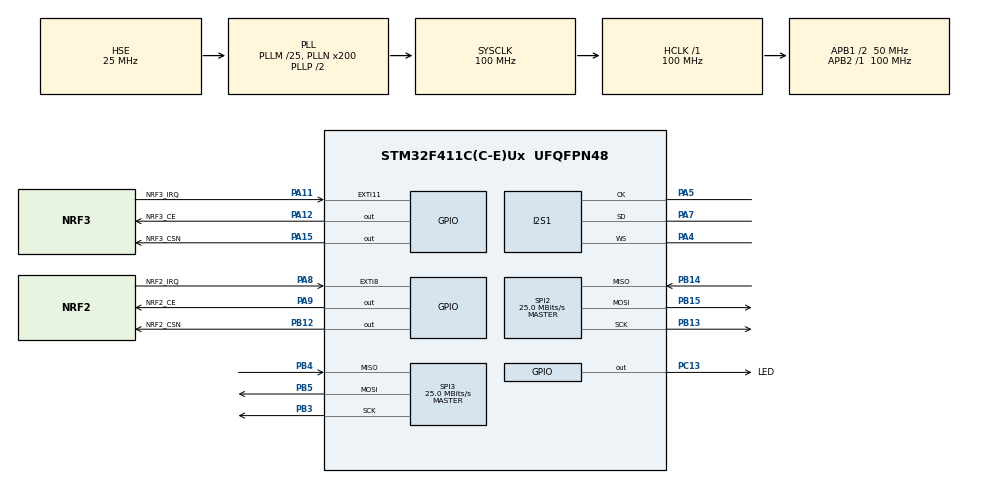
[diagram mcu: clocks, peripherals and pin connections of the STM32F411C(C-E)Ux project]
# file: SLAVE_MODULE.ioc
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Dma.Request0=SPI1_RX
Dma.SPI1_RX.0.Direction=DMA_PERIPH_TO_MEMORY
Dma.SPI1_RX.0.FIFOMode=DMA_FIFOMODE_DISABLE
Dma.SPI1_RX.0.Instance=DMA2_Stream0
Dma.SPI1_RX.0.MemDataAlignment=DMA_MDATAALIGN_HALFWORD
Dma.SPI1_RX.0.MemInc=DMA_MINC_ENABLE
Dma.SPI1_RX.0.Mode=DMA_CIRCULAR
Dma.SPI1_RX.0.PeriphDataAlignment=DMA_PDATAALIGN_HALFWORD
Dma.SPI1_RX.0.PeriphInc=DMA_PINC_DISABLE
Dma.SPI1_RX.0.Priority=DMA_PRIORITY_LOW
I2S1.AudioFreq=I2S_AUDIOFREQ_16K
I2S1.DataFormat=I2S_DATAFORMAT_24B
I2S1.ErrorAudioFreq=-0.26 %
I2S1.FullDuplexMode=I2S_FULLDUPLEXMODE_DISABLE
I2S1.Instance=SPI$Index
I2S1.Mode=I2S_MODE_MASTER_RX
I2S1.RealAudioFreq=15.957 KHz
I2S1.VirtualMode=I2S_MODE_MASTER
Mcu.Family=STM32F4
Mcu.Name=STM32F411C(C-E)Ux
Mcu.Package=UFQFPN48
NVIC.DMA2_Stream0_IRQn=true\:0\:0\:false\:false\:true\:false\:true\:true
NVIC.PriorityGroup=NVIC_PRIORITYGROUP_4
NVIC.TIM2_IRQn=true\:0\:0\:false\:false\:true\:true\:true\:true
PA11.GPIO_Label=NRF3_IRQ
PA11.GPIO_ModeDefaultEXTI=GPIO_MODE_IT_FALLING
PA11.Signal=GPXTI11
PA12.GPIO_Label=NRF3_CE
PA12.GPIO_Speed=GPIO_SPEED_FREQ_HIGH
PA12.Signal=GPIO_Output
PA13.Mode=Serial_Wire
PA13.Signal=SYS_JTMS-SWDIO
PA14.Mode=Serial_Wire
PA14.Signal=SYS_JTCK-SWCLK
PA15.GPIO_Label=NRF3_CSN
PA15.PinState=GPIO_PIN_SET
PA15.Signal=GPIO_Output
PA4.GPIO_Speed=GPIO_SPEED_FREQ_VERY_HIGH
PA4.Mode=Half_Duplex_Master
PA4.Signal=I2S1_WS
PA5.GPIO_Speed=GPIO_SPEED_FREQ_VERY_HIGH
PA5.Mode=Half_Duplex_Master
PA5.Signal=I2S1_CK
PA7.GPIO_Speed=GPIO_SPEED_FREQ_VERY_HIGH
PA7.Mode=Half_Duplex_Master
PA7.Signal=I2S1_SD
PA8.GPIO_Label=NRF2_IRQ
PA8.GPIO_ModeDefaultEXTI=GPIO_MODE_IT_FALLING
PA8.Signal=GPXTI8
PA9.GPIO_Label=NRF2_CE
PA9.GPIO_Speed=GPIO_SPEED_FREQ_HIGH
PA9.PinState=GPIO_PIN_RESET
PA9.Signal=GPIO_Output
PB12.GPIO_Label=NRF2_CSN
PB12.GPIO_Speed=GPIO_SPEED_FREQ_HIGH
PB12.Signal=GPIO_Output
PB13.Mode=Full_Duplex_Master
PB13.Signal=SPI2_SCK
PB14.Mode=Full_Duplex_Master
PB14.Signal=SPI2_MISO
PB15.Mode=Full_Duplex_Master
PB15.Signal=SPI2_MOSI
PB3.Mode=Full_Duplex_Master
PB3.Signal=SPI3_SCK
PB4.Mode=Full_Duplex_Master
PB4.Signal=SPI3_MISO
PB5.Mode=Full_Duplex_Master
PB5.Signal=SPI3_MOSI
PC13-ANTI_TAMP.GPIO_Label=LED
PC13-ANTI_TAMP.PinState=GPIO_PIN_SET
PC13-ANTI_TAMP.Signal=GPIO_Output
PH0\ -\ OSC_IN.Mode=HSE-External-Oscillator
PH0\ -\ OSC_IN.Signal=RCC_OSC_IN
PH1\ -\ OSC_OUT.Mode=HSE-External-Oscillator
PH1\ -\ OSC_OUT.Signal=RCC_OSC_OUT
ProjectManager.HeapSize=0x200
ProjectManager.StackSize=0x400
ProjectManager.TargetToolchain=STM32CubeIDE
RCC.48MHZClocksFreq_Value=50000000
RCC.AHBFreq_Value=100000000
RCC.APB1CLKDivider=RCC_HCLK_DIV2
RCC.APB1Freq_Value=50000000
RCC.APB1TimFreq_Value=100000000
RCC.APB2Freq_Value=100000000
RCC.APB2TimFreq_Value=100000000
RCC.CortexFreq_Value=100000000
RCC.HCLKFreq_Value=100000000
RCC.HSE_VALUE=25000000
RCC.HSI_VALUE=16000000
RCC.LSE_VALUE=32768
RCC.PLLI2SM=25
RCC.PLLM=25
RCC.PLLN=200
RCC.PLLSourceVirtual=RCC_PLLSOURCE_HSE
RCC.SYSCLKFreq_VALUE=100000000
RCC.SYSCLKSource=RCC_SYSCLKSOURCE_PLLCLK
RCC.VCOOutputFreq_Value=200000000
SPI2.BaudRatePrescaler=SPI_BAUDRATEPRESCALER_2
SPI2.CalculateBaudRate=25.0 MBits/s
SPI2.Direction=SPI_DIRECTION_2LINES
SPI2.Mode=SPI_MODE_MASTER
SPI2.VirtualType=VM_MASTER
SPI3.BaudRatePrescaler=SPI_BAUDRATEPRESCALER_2
SPI3.CalculateBaudRate=25.0 MBits/s
SPI3.Direction=SPI_DIRECTION_2LINES
SPI3.Mode=SPI_MODE_MASTER
SPI3.VirtualType=VM_MASTER
TIM2.Prescaler=99
VP_TIM2_VS_ClockSourceINT.Mode=Internal
board=custom

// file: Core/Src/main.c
/* USER CODE BEGIN Header */
/**
  ******************************************************************************
  * @file           : main.c
  * @brief          : Main program body
  ******************************************************************************
  * @attention
  *
  * Copyright (c) 2026 STMicroelectronics.
  * All rights reserved.
  *
  * This software is licensed under terms that can be found in the LICENSE file
  * in the root directory of this software component.
  * If no LICENSE file comes with this software, it is provided AS-IS.
  *
  ******************************************************************************
  */
/* USER CODE END Header */
#include "main.h"

/* USER CODE BEGIN Includes */
#include <math.h>
#include <string.h>
#include <stdint.h>
/* USER CODE END Includes */

/* USER CODE BEGIN PTD */
typedef enum {
    DET_STATE_QUIET = 0,
    DET_STATE_CANDIDATE,
    DET_STATE_LOCKOUT
} detector_state_t;
/* USER CODE END PTD */

/* USER CODE BEGIN PD */
#define AUDIO_FS             16000U
#define BLOCK_SAMPLES        512U
#define DMA_HALVES           2U
/* INMP441 передает полезный моно-сигнал в одном слоте стереокадра I2S.
 * Один 24-битный слот занимает два 16-битных DMA half-word.
 * Один полный стереокадр: левый слот + правый слот = 4 half-word.
 * Поэтому один полезный моно-отсчет соответствует 4 half-word, а не 2.
 */
#define I2S_WORDS_PER_SAMPLE      4U
#define I2S_ACTIVE_SLOT_WORD_OFFSET 0U  /* L/R=0: левый слот; если сигнал нулевой, заменить на 2U */
#define I2S_HALF_WORDS            (BLOCK_SAMPLES * I2S_WORDS_PER_SAMPLE)
#define I2S_DMA_WORDS             (BLOCK_SAMPLES * DMA_HALVES * I2S_WORDS_PER_SAMPLE)
/* Для STM32F4 HAL в 24-bit I2S Size удваивается внутри HAL до количества 16-bit DMA-транзакций. */
#define I2S_HAL_RX_SIZE_PARAM     I2S_HALF_WORDS

#define PRETRIGGER_SAMPLES  256U
#define PRETRIGGER_MASK     (PRETRIGGER_SAMPLES - 1U)
#define STA_SAMPLES         8U
#define LTA_SAMPLES         128U
#define STA_LTA_RATIO_Q8    768U
#define TRIGGER_MULTIPLIER  4U
#define ONSET_MULTIPLIER    2U
#define MIN_ONSET_DWELL     4U
#define MIN_SHAPE_DWELL     8U
#define LOCKOUT_SAMPLES     800U
#define CANDIDATE_TIMEOUT   320U
#define DC_SHIFT            10U
#define ENV_SHIFT           2U
#define NOISE_SHIFT         6U
#define CUSUM_LEAK          96U
#define CUSUM_CONFIRM       24000U

/* USER CODE END PD */

I2S_HandleTypeDef hi2s1;
DMA_HandleTypeDef hdma_spi1_rx;

SPI_HandleTypeDef hspi2;
SPI_HandleTypeDef hspi3;

TIM_HandleTypeDef htim2;

/* USER CODE BEGIN PV */
typedef struct {
    SPI_HandleTypeDef *hspi;
    GPIO_TypeDef *csn_port;
    uint16_t csn_pin;
    GPIO_TypeDef *ce_port;
    uint16_t ce_pin;
} nrf_dev_t;

volatile transient_event_t last_event = {0};
volatile uint64_t last_event_timestamp_us = 0;
volatile uint64_t last_event_sample_index = 0;
volatile uint32_t dma_audio_overruns = 0;
volatile uint8_t recognized_event_id = 0;
volatile uint8_t radio_event_ready = 0;
volatile radio_event_packet_t radio_event_packet = {0};

/* Диагностика радиоканала для STM32CubeMonitor. */
volatile uint8_t SynEnable = 0;
volatile int32_t radio_last_sync_error_us = 0;
volatile int32_t radio_time_correction_us = 0;
volatile uint8_t radio_sync_seen = 0;
volatile uint8_t radio_nrf3_tx_busy = 0;
volatile uint8_t radio_nrf3_last_status = 0;
volatile uint8_t radio_nrf2_last_status = 0;
volatile uint8_t radio_nrf2_last_pipe = 0;
volatile uint8_t radio_nrf2_last_payload = 0;
volatile uint64_t radio_nrf2_last_sync_master_us = 0;
volatile uint32_t radio_nrf2_last_sync_master_us_lo = 0;
volatile uint32_t radio_nrf2_last_sync_master_us_hi = 0;
volatile uint8_t radio_nrf2_last_payload_len = 0;
volatile uint8_t radio_nrf2_en_aa = 0xFFU;
volatile uint32_t radio_nrf3_max_rt_count = 0;
volatile uint32_t radio_nrf3_tx_ok_count = 0;
volatile uint32_t radio_nrf2_sync_count = 0;
volatile uint32_t radio_nrf2_reset_count = 0;
volatile uint32_t radio_nrf2_health_count = 0;
volatile uint32_t radio_nrf2_lost_sync_estimate = 0;

/* Расширенная диагностика nRF24L01+ для CubeMonitor.
 * present = 1, если по SPI читается RF_CH, равный ожидаемой частоте.
 * irq_pin_level: 0 означает активное IRQ, 1 - линия отпущена.
 * *_status_after_clear должен иметь биты RX_DR/TX_DS/MAX_RT сброшенными. */
volatile uint8_t radio_nrf2_present = 0;
volatile uint8_t radio_nrf3_present = 0;
volatile uint8_t radio_nrf2_config = 0;
volatile uint8_t radio_nrf3_config = 0;
volatile uint8_t radio_nrf2_fifo_status = 0;
volatile uint8_t radio_nrf3_fifo_status = 0;
volatile uint8_t radio_nrf2_observe_tx = 0;
volatile uint8_t radio_nrf3_observe_tx = 0;
volatile uint8_t radio_nrf2_rf_ch_read = 0;
volatile uint8_t radio_nrf3_rf_ch_read = 0;
volatile uint8_t radio_nrf2_setup_aw_read = 0;
volatile uint8_t radio_nrf3_setup_aw_read = 0;
volatile uint8_t radio_nrf2_irq_pin_level = 1;
volatile uint8_t radio_nrf3_irq_pin_level = 1;
volatile uint8_t radio_nrf2_status_after_clear = 0;
volatile uint8_t radio_nrf3_status_after_clear = 0;
volatile uint32_t radio_nrf2_init_clear_count = 0;
volatile uint32_t radio_nrf3_init_clear_count = 0;
volatile uint32_t radio_nrf2_spi_error_count = 0;
volatile uint32_t radio_nrf3_spi_error_count = 0;
volatile uint8_t radio_nrf2_status_nop = 0;
volatile uint8_t radio_nrf3_status_nop = 0;
volatile uint8_t radio_nrf2_present_code = 0;
volatile uint8_t radio_nrf3_present_code = 0;
volatile uint8_t radio_nrf2_feature = 0xFFU;
volatile uint8_t radio_nrf3_feature = 0xFFU;
volatile uint8_t radio_nrf2_dynpd = 0xFFU;
volatile uint8_t radio_nrf3_dynpd = 0xFFU;

/* EXTI must be short: only post these flags. SPI service is done in main loop. */
volatile uint8_t radio_nrf2_irq_pending = 0;
volatile uint8_t radio_nrf3_irq_pending = 0;

/* Адреса должны совпадать с настройками мастера.
 * NRF3 передаёт timestamp-пакеты на pipe мастера, выделенную данному slave.
 * NRF2 принимает pipe0 общий sync/reset и pipe1 индивидуальный health-check. */
/* Адреса согласованы с master_radio_impl_v2/master_radio.c.
 * Для Slave_0:
 *   NRF3 timestamp TX -> master NRF3 RX pipe0: 00 CC BB AA E1
 *   NRF2 common RX    <- master reset/sync:      D2 C2 B2 A2 E2
 *   NRF2 health RX    <- master health slave0:   10 C3 B3 A3 E3
 * Для Slave_1..3 нужно изменить только первый байт nrf3_master_pipe0_addr
 * на 0x01..0x03 и первый байт nrf2_slave_pipe1_addr на 0x11..0x13.
 */
static uint8_t nrf3_master_pipe0_addr[RADIO_ADDR_WIDTH] = {0x00U, 0xCCU, 0xBBU, 0xAAU, 0xE1U};
static uint8_t nrf2_common_pipe0_addr[RADIO_ADDR_WIDTH] = {0xD2U, 0xC2U, 0xB2U, 0xA2U, 0xE2U};
static uint8_t nrf2_slave_pipe1_addr[RADIO_ADDR_WIDTH]  = {0x10U, 0xC3U, 0xB3U, 0xA3U, 0xE3U};

static const nrf_dev_t nrf2_rx = {
    .hspi = &hspi2,
    .csn_port = NRF2_CSN_GPIO_Port,
    .csn_pin = NRF2_CSN_Pin,
    .ce_port = NRF2_CE_GPIO_Port,
    .ce_pin = NRF2_CE_Pin
};
static const nrf_dev_t nrf3_tx = {
    .hspi = &hspi3,
    .csn_port = NRF3_CSN_GPIO_Port,
    .csn_pin = NRF3_CSN_Pin,
    .ce_port = NRF3_CE_GPIO_Port,
    .ce_pin = NRF3_CE_Pin
};

/*
 * 24-битный I2S через 16-битный DMA.
 * Каждый сэмпл = 2 полуслова (half-words) по 16 бит.
 * Двойной буфер: 2 половины * BLOCK_SAMPLES сэмплов * 2 полуслова = BLOCK_SAMPLES * 4
 */
static uint16_t i2s_buffer[I2S_DMA_WORDS] __attribute__((aligned(4)));

/* ISR only posts completed DMA halves; main loop consumes them atomically. */
static volatile uint8_t process_pending_mask = 0;
static volatile uint64_t process_block_start_sample[DMA_HALVES] = {0, 0};

volatile uint32_t tim2_ovf = 0;
static uint64_t recording_start_us = 0;
static volatile uint64_t sample_counter = 0;

static int16_t  pretrigger_pcm[PRETRIGGER_SAMPLES];
static uint16_t pretrigger_env[PRETRIGGER_SAMPLES];
static uint32_t pretrigger_wr = 0;

static detector_state_t det_state = DET_STATE_QUIET;
static int32_t  dc_estimate = 0;
static uint32_t env_state = 0;
static uint32_t noise_mean = 512U;
static uint32_t noise_deviation = 64U;
static uint32_t sta_ring[STA_SAMPLES];
static uint32_t lta_ring[LTA_SAMPLES];
static uint32_t sta_sum = 0;
static uint32_t lta_sum = 1U;
static uint32_t sta_pos = 0;
static uint32_t lta_pos = 0;
static uint32_t cusum_pos = 0;
static uint32_t lockout_left = 0;
static uint32_t candidate_age = 0;
static uint32_t candidate_peak = 0;
static uint32_t candidate_peak_sta_lta_q8 = 0;
static uint16_t candidate_dwell = 0;
static uint64_t candidate_start_sample = 0;

int32_t test24 = 0;

/* Debug-переменные детектора для STM32CubeMonitor.
 * Используются только для построения графиков: выпрямленный сигнал,
 * огибающая, адаптивные пороги и состояние автомата детектора.
 */
volatile uint16_t dbg_rect16 = 0;
volatile uint32_t dbg_env = 0;
volatile uint32_t dbg_thr_trigger = 0;
volatile uint32_t dbg_thr_onset = 0;
volatile uint8_t  dbg_det_state = 0;
/* USER CODE END PV */

void SystemClock_Config(void);
static void MX_GPIO_Init(void);
static void MX_DMA_Init(void);
static void MX_I2S1_Init(void);
static void MX_SPI2_Init(void);
static void MX_SPI3_Init(void);
static void MX_TIM2_Init(void);
/* USER CODE BEGIN PFP */
uint64_t get_time_us(void);
void process_audio_block(uint16_t *buf, uint16_t len, uint64_t block_start_sample);
static void Radio_Init(void);
static void Radio_ResetInternalTimeAndEvents(void);
static uint64_t Radio_ApplySyncCorrection(uint64_t timestamp_us);
static void Radio_HandleNrf2Rx(void);
static void Radio_HandleNrf3TxIrq(void);
static void nrf_read_payload_buf(const nrf_dev_t *dev, uint8_t *payload, uint8_t len);
static uint64_t get_u64_le(const uint8_t *p);
static void nrf_clear_all_irqs_and_fifos(const nrf_dev_t *dev, uint8_t is_nrf3);
static void Radio_UpdateNrfDebugSnapshot(void);
/* USER CODE END PFP */

/* USER CODE BEGIN 0 */
static uint8_t nrf_spi_xfer(const nrf_dev_t *dev, uint8_t data)
{
    uint8_t rx = 0xFFU;
    HAL_StatusTypeDef st = HAL_SPI_TransmitReceive(dev->hspi, &data, &rx, 1U, 2U);
    if (st != HAL_OK) {
        if (dev == &nrf2_rx) {
            radio_nrf2_spi_error_count++;
        } else if (dev == &nrf3_tx) {
            radio_nrf3_spi_error_count++;
        }
    }
    return rx;
}

static void nrf_csn_low(const nrf_dev_t *dev)
{
    HAL_GPIO_WritePin(dev->csn_port, dev->csn_pin, GPIO_PIN_RESET);
}

static void nrf_csn_high(const nrf_dev_t *dev)
{
    HAL_GPIO_WritePin(dev->csn_port, dev->csn_pin, GPIO_PIN_SET);
}

static void nrf_ce_low(const nrf_dev_t *dev)
{
    HAL_GPIO_WritePin(dev->ce_port, dev->ce_pin, GPIO_PIN_RESET);
}

static void nrf_ce_high(const nrf_dev_t *dev)
{
    HAL_GPIO_WritePin(dev->ce_port, dev->ce_pin, GPIO_PIN_SET);
}

static uint8_t nrf_read_reg(const nrf_dev_t *dev, uint8_t reg)
{
    uint8_t val;
    nrf_csn_low(dev);
    nrf_spi_xfer(dev, NRF_CMD_R_REGISTER | (reg & 0x1FU));
    val = nrf_spi_xfer(dev, 0x00U);
    nrf_csn_high(dev);
    return val;
}

static void nrf_write_reg(const nrf_dev_t *dev, uint8_t reg, uint8_t val)
{
    nrf_csn_low(dev);
    nrf_spi_xfer(dev, NRF_CMD_W_REGISTER | (reg & 0x1FU));
    nrf_spi_xfer(dev, val);
    nrf_csn_high(dev);
}

static void nrf_read_multi(const nrf_dev_t *dev, uint8_t reg, uint8_t *data, uint8_t len)
{
    nrf_csn_low(dev);
    nrf_spi_xfer(dev, NRF_CMD_R_REGISTER | (reg & 0x1FU));
    for (uint8_t i = 0; i < len; i++) {
        data[i] = nrf_spi_xfer(dev, 0x00U);
    }
    nrf_csn_high(dev);
}

static void nrf_write_multi(const nrf_dev_t *dev, uint8_t reg, const uint8_t *data, uint8_t len)
{
    nrf_csn_low(dev);
    nrf_spi_xfer(dev, NRF_CMD_W_REGISTER | (reg & 0x1FU));
    for (uint8_t i = 0; i < len; i++) {
        nrf_spi_xfer(dev, data[i]);
    }
    nrf_csn_high(dev);
}

static void nrf_command(const nrf_dev_t *dev, uint8_t cmd)
{
    nrf_csn_low(dev);
    nrf_spi_xfer(dev, cmd);
    nrf_csn_high(dev);
}

static void nrf_activate_features(const nrf_dev_t *dev)
{
    /* nRF24L01+ FEATURE/DYNPD registers are locked after reset on many
     * modules. ACTIVATE 0x73 unlocks them. Without it, EN_DYN_ACK can stay
     * zero and NO_ACK sync/reset packets from the master may be ignored. */
    nrf_csn_low(dev);
    nrf_spi_xfer(dev, 0x50U);
    nrf_spi_xfer(dev, 0x73U);
    nrf_csn_high(dev);
}

static void nrf_write_feature_checked(const nrf_dev_t *dev, uint8_t value)
{
    /* ACTIVATE 0x73 toggles FEATURE access. If the MCU resets but the radio
     * module remains powered, unconditional ACTIVATE may switch FEATURE access
     * off. Write-read first; ACTIVATE only if FEATURE did not accept value. */
    nrf_write_reg(dev, NRF_REG_FEATURE, value);
    if (nrf_read_reg(dev, NRF_REG_FEATURE) != value) {
        nrf_activate_features(dev);
        nrf_write_reg(dev, NRF_REG_FEATURE, value);
    }
}

static uint8_t nrf_get_status_nop(const nrf_dev_t *dev)
{
    uint8_t st;
    nrf_csn_low(dev);
    st = nrf_spi_xfer(dev, NRF_CMD_NOP);
    nrf_csn_high(dev);
    return st;
}

static void nrf_clear_irq(const nrf_dev_t *dev, uint8_t flags)
{
    nrf_write_reg(dev, NRF_REG_STATUS, flags & (NRF_STATUS_RX_DR | NRF_STATUS_TX_DS | NRF_STATUS_MAX_RT));
}

static void nrf_clear_all_irqs_and_fifos(const nrf_dev_t *dev, uint8_t is_nrf3)
{
    /* nRF24L01+ IRQ is active-low while RX_DR, TX_DS or MAX_RT is set and
     * unmasked by CONFIG. On power-up or after a failed TX these flags may
     * remain latched. Clear them before enabling CE and before enabling
     * unmasked IRQ sources, otherwise the IRQ line can stay low forever. */
    nrf_ce_low(dev);
    nrf_write_reg(dev, NRF_REG_STATUS, NRF_STATUS_RX_DR | NRF_STATUS_TX_DS | NRF_STATUS_MAX_RT);
    nrf_command(dev, NRF_CMD_FLUSH_RX);
    nrf_command(dev, NRF_CMD_FLUSH_TX);
    nrf_write_reg(dev, NRF_REG_STATUS, NRF_STATUS_RX_DR | NRF_STATUS_TX_DS | NRF_STATUS_MAX_RT);

    if (is_nrf3 != 0U) {
        radio_nrf3_init_clear_count++;
        radio_nrf3_status_after_clear = nrf_read_reg(dev, NRF_REG_STATUS);
        radio_nrf3_fifo_status = nrf_read_reg(dev, NRF_REG_FIFO_STATUS);
    } else {
        radio_nrf2_init_clear_count++;
        radio_nrf2_status_after_clear = nrf_read_reg(dev, NRF_REG_STATUS);
        radio_nrf2_fifo_status = nrf_read_reg(dev, NRF_REG_FIFO_STATUS);
    }
}

static void Radio_UpdateNrfDebugSnapshot(void)
{
    radio_nrf2_status_nop = nrf_get_status_nop(&nrf2_rx);
    radio_nrf3_status_nop = nrf_get_status_nop(&nrf3_tx);
    radio_nrf2_last_status = nrf_read_reg(&nrf2_rx, NRF_REG_STATUS);
    radio_nrf3_last_status = nrf_read_reg(&nrf3_tx, NRF_REG_STATUS);
    radio_nrf2_config = nrf_read_reg(&nrf2_rx, NRF_REG_CONFIG);
    radio_nrf3_config = nrf_read_reg(&nrf3_tx, NRF_REG_CONFIG);
    radio_nrf2_fifo_status = nrf_read_reg(&nrf2_rx, NRF_REG_FIFO_STATUS);
    radio_nrf3_fifo_status = nrf_read_reg(&nrf3_tx, NRF_REG_FIFO_STATUS);
    radio_nrf2_observe_tx = nrf_read_reg(&nrf2_rx, NRF_REG_OBSERVE_TX);
    radio_nrf3_observe_tx = nrf_read_reg(&nrf3_tx, NRF_REG_OBSERVE_TX);
    radio_nrf2_rf_ch_read = nrf_read_reg(&nrf2_rx, NRF_REG_RF_CH);
    radio_nrf3_rf_ch_read = nrf_read_reg(&nrf3_tx, NRF_REG_RF_CH);
    radio_nrf2_setup_aw_read = nrf_read_reg(&nrf2_rx, NRF_REG_SETUP_AW);
    radio_nrf3_setup_aw_read = nrf_read_reg(&nrf3_tx, NRF_REG_SETUP_AW);
    radio_nrf2_feature = nrf_read_reg(&nrf2_rx, NRF_REG_FEATURE);
    radio_nrf3_feature = nrf_read_reg(&nrf3_tx, NRF_REG_FEATURE);
    radio_nrf2_en_aa = nrf_read_reg(&nrf2_rx, NRF_REG_EN_AA);
    radio_nrf2_dynpd = nrf_read_reg(&nrf2_rx, NRF_REG_DYNPD);
    radio_nrf3_dynpd = nrf_read_reg(&nrf3_tx, NRF_REG_DYNPD);
    radio_nrf2_irq_pin_level = (uint8_t)HAL_GPIO_ReadPin(NRF2_IRQ_GPIO_Port, NRF2_IRQ_Pin);
    radio_nrf3_irq_pin_level = (uint8_t)HAL_GPIO_ReadPin(NRF3_IRQ_GPIO_Port, NRF3_IRQ_Pin);
    radio_nrf2_present_code = 0U;
    if (radio_nrf2_rf_ch_read == NRF2_FREQ) { radio_nrf2_present_code |= 0x01U; }
    if (radio_nrf2_setup_aw_read == 0x03U) { radio_nrf2_present_code |= 0x02U; }
    if ((radio_nrf2_status_nop != 0xFFU) && (radio_nrf2_status_nop != 0x00U)) { radio_nrf2_present_code |= 0x04U; }
    radio_nrf2_present = ((radio_nrf2_present_code & 0x03U) == 0x03U) ? 1U : 0U;

    radio_nrf3_present_code = 0U;
    if (radio_nrf3_rf_ch_read == NRF3_FREQ) { radio_nrf3_present_code |= 0x01U; }
    if (radio_nrf3_setup_aw_read == 0x03U) { radio_nrf3_present_code |= 0x02U; }
    if ((radio_nrf3_status_nop != 0xFFU) && (radio_nrf3_status_nop != 0x00U)) { radio_nrf3_present_code |= 0x04U; }
    radio_nrf3_present = ((radio_nrf3_present_code & 0x03U) == 0x03U) ? 1U : 0U;
}

static void delay_us_blocking(uint32_t us)
{
    uint64_t start = get_time_us();
    while ((uint64_t)(get_time_us() - start) < us) {
        __NOP();
    }
}

uint64_t get_time_us(void)
{
    uint32_t primask = __get_PRIMASK();
    __disable_irq();
    uint64_t t = ((uint64_t)tim2_ovf << 32) | TIM2->CNT;
    if (primask == 0U) {
        __enable_irq();
    }
    return t;
}

static void set_time_us(uint64_t us)
{
    uint32_t primask = __get_PRIMASK();
    __disable_irq();
    tim2_ovf = (uint32_t)(us >> 32);
    TIM2->CNT = (uint32_t)us;
    if (primask == 0U) {
        __enable_irq();
    }
}

static uint8_t pop_dma_half(uint16_t **block_ptr, uint64_t *block_start_sample)
{
    uint8_t half_index = 0xFFU;

    uint32_t primask = __get_PRIMASK();
    __disable_irq();
    if (process_pending_mask & 0x01U) {
        process_pending_mask &= (uint8_t)~0x01U;
        half_index = 0U;
        *block_start_sample = process_block_start_sample[0];
    } else if (process_pending_mask & 0x02U) {
        process_pending_mask &= (uint8_t)~0x02U;
        half_index = 1U;
        *block_start_sample = process_block_start_sample[1];
    }
    if (primask == 0U) {
        __enable_irq();
    }

    if (half_index != 0xFFU) {
        *block_ptr = &i2s_buffer[(uint32_t)half_index * I2S_HALF_WORDS];
    }
    return half_index;
}

static uint8_t audio_has_pending_block(void)
{
    return process_pending_mask != 0U;
}

static void mark_dma_half_ready(uint8_t half_index)
{
    uint8_t bit = (uint8_t)(1U << half_index);
    uint64_t start_sample = sample_counter;

    process_block_start_sample[half_index] = start_sample;
    sample_counter = start_sample + BLOCK_SAMPLES;

    if (process_pending_mask & bit) {
        dma_audio_overruns++;
    }
    process_pending_mask |= bit;
}

void HAL_TIM_PeriodElapsedCallback(TIM_HandleTypeDef *htim)
{
    if (htim->Instance == TIM2) {
        tim2_ovf++;
    }
}

void HAL_I2S_RxHalfCpltCallback(I2S_HandleTypeDef *hi2s)
{
    if (hi2s->Instance == SPI1) {
        mark_dma_half_ready(0U);
    }
}

void HAL_I2S_RxCpltCallback(I2S_HandleTypeDef *hi2s)
{
    if (hi2s->Instance == SPI1) {
        mark_dma_half_ready(1U);
    }
}

static inline uint32_t u32_abs_i32(int32_t v)
{
    return (v < 0) ? (uint32_t)(-v) : (uint32_t)v;
}

static inline int32_t decode_inmp441_sample24(const uint16_t *buf, uint16_t i)
{
    uint32_t base = (uint32_t)i * I2S_WORDS_PER_SAMPLE + I2S_ACTIVE_SLOT_WORD_OFFSET;
    uint32_t raw24 = ((uint32_t)buf[base] << 8) |
                     ((buf[base + 1U] >> 8) & 0xFFU);

    if (raw24 & 0x800000U) {
        return (int32_t)(raw24 | 0xFF000000U);
    }
    return (int32_t)raw24;
}

static uint32_t detector_threshold(uint32_t multiplier)
{
    uint32_t thr = noise_mean + noise_deviation * multiplier;
    return (thr < 32U) ? 32U : thr;
}

static uint32_t sta_lta_ratio_q8(void)
{
    uint32_t lta = (lta_sum == 0U) ? 1U : lta_sum;
    return (uint32_t)(((uint64_t)sta_sum * LTA_SAMPLES * 256ULL) /
                      ((uint64_t)lta * STA_SAMPLES));
}

static uint8_t sta_lta_confirmed(void)
{
    uint32_t lta = (lta_sum == 0U) ? 1U : lta_sum;
    return (((uint64_t)sta_sum * LTA_SAMPLES * 256ULL) >
            ((uint64_t)lta * STA_SAMPLES * STA_LTA_RATIO_Q8));
}

static void update_sta_lta(uint32_t env)
{
    sta_sum -= sta_ring[sta_pos];
    sta_ring[sta_pos] = env;
    sta_sum += env;
    if (++sta_pos >= STA_SAMPLES) {
        sta_pos = 0U;
    }

    lta_sum -= lta_ring[lta_pos];
    lta_ring[lta_pos] = env;
    lta_sum += env;
    if (++lta_pos >= LTA_SAMPLES) {
        lta_pos = 0U;
    }
}

static void update_noise_if_quiet(uint32_t env)
{
    if (det_state != DET_STATE_QUIET || env > detector_threshold(TRIGGER_MULTIPLIER)) {
        return;
    }

    int32_t mean_delta = (int32_t)env - (int32_t)noise_mean;
    int32_t new_mean = (int32_t)noise_mean + (mean_delta >> NOISE_SHIFT);
    noise_mean = (new_mean < 0) ? 0U : (uint32_t)new_mean;

    uint32_t abs_delta = u32_abs_i32((int32_t)env - (int32_t)noise_mean);
    int32_t dev_delta = (int32_t)abs_delta - (int32_t)noise_deviation;
    int32_t new_dev = (int32_t)noise_deviation + (dev_delta >> NOISE_SHIFT);
    noise_deviation = (new_dev < 8) ? 8U : (uint32_t)new_dev;
}

static void update_cusum(uint32_t env)
{
    uint32_t baseline = detector_threshold(1U);

    if (env > baseline) {
        uint32_t inc = env - baseline;
        if (inc > 4096U) {
            inc = 4096U;
        }
        cusum_pos += inc;
        if (cusum_pos > (CUSUM_CONFIRM * 4U)) {
            cusum_pos = CUSUM_CONFIRM * 4U;
        }
    } else if (cusum_pos > CUSUM_LEAK) {
        cusum_pos -= CUSUM_LEAK;
    } else {
        cusum_pos = 0U;
    }
}

static uint64_t refine_first_arrival(uint64_t current_sample)
{
    uint32_t onset_thr = detector_threshold(ONSET_MULTIPLIER);

    for (uint32_t back = PRETRIGGER_SAMPLES - MIN_ONSET_DWELL - 1U;
         back > MIN_ONSET_DWELL;
         back--) {
        uint32_t idx = (pretrigger_wr - back) & PRETRIGGER_MASK;
        uint32_t ok = 1U;

        for (uint32_t k = 0; k < MIN_ONSET_DWELL; k++) {
            if (pretrigger_env[(idx + k) & PRETRIGGER_MASK] < onset_thr) {
                ok = 0U;
                break;
            }
        }

        if (ok) {
            uint32_t prev = (idx - 1U) & PRETRIGGER_MASK;
            if (pretrigger_env[idx] >= pretrigger_env[prev]) {
                return current_sample - back;
            }
        }
    }
    return current_sample;
}

static void publish_event(uint64_t sample_index,
                          uint32_t peak_env,
                          uint32_t peak_sta_lta_q8,
                          uint16_t dwell)
{
    transient_event_t ev;

    ev.sample_index = sample_index;
    ev.timestamp_us = recording_start_us + ((sample_index * 1000000ULL) / AUDIO_FS);
    ev.peak_envelope = peak_env;
    ev.peak_sta_lta_q8 = peak_sta_lta_q8;
    ev.noise_mean = noise_mean;
    ev.noise_deviation = noise_deviation;
    ev.dwell_samples = dwell;
    ev.quality_flags = 0U;
    ev.valid = 1U;

    if (dwell >= MIN_SHAPE_DWELL) {
        ev.quality_flags |= 0x01U;
    }
    if (peak_sta_lta_q8 >= STA_LTA_RATIO_Q8) {
        ev.quality_flags |= 0x02U;
    }
    if (peak_env > detector_threshold(TRIGGER_MULTIPLIER)) {
        ev.quality_flags |= 0x04U;
    }

    uint32_t primask = __get_PRIMASK();
    __disable_irq();
    last_event = ev;
    last_event_sample_index = ev.sample_index;
    last_event_timestamp_us = ev.timestamp_us;
    if (primask == 0U) {
        __enable_irq();
    }

    /* User-requested radio mode: transmit ev.timestamp_us in the 64-bit packet field. */
    Radio_PublishEventTimestamp(ev.timestamp_us);
    HAL_GPIO_TogglePin(LED_GPIO_Port, LED_Pin);
}

static void detector_process_pcm16(int16_t pcm, uint64_t sample_index)
{
    uint32_t rect = u32_abs_i32((int32_t)pcm);
    int32_t env_delta = (int32_t)rect - (int32_t)env_state;
    int32_t new_env = (int32_t)env_state + (env_delta >> ENV_SHIFT);
    uint32_t env = (new_env < 0) ? 0U : (uint32_t)new_env;
    uint32_t threshold;

    env_state = env;
    pretrigger_pcm[pretrigger_wr] = pcm;
    pretrigger_env[pretrigger_wr] = (env > 65535U) ? 65535U : (uint16_t)env;
    pretrigger_wr = (pretrigger_wr + 1U) & PRETRIGGER_MASK;

    update_sta_lta(env);
    update_noise_if_quiet(env);
    update_cusum(env);
    threshold = detector_threshold(TRIGGER_MULTIPLIER);

    /* Обновление диагностических переменных для STM32CubeMonitor.
     * dbg_rect16      - abs(pcm16), выпрямленный 16-битный сигнал;
     * dbg_env         - сглаженная огибающая;
     * dbg_thr_trigger - основной адаптивный порог детектирования;
     * dbg_thr_onset   - нижний порог уточнения начала события.
     */
    dbg_rect16 = (rect > 65535U) ? 65535U : (uint16_t)rect;
    dbg_env = env;
    dbg_thr_trigger = threshold;
    dbg_thr_onset = detector_threshold(ONSET_MULTIPLIER);

    switch (det_state) {
    case DET_STATE_QUIET:
        if (env > threshold) {
            det_state = DET_STATE_CANDIDATE;
            candidate_age = 0U;
            candidate_peak = env;
            candidate_peak_sta_lta_q8 = sta_lta_ratio_q8();
            candidate_dwell = 1U;
            candidate_start_sample = sample_index;
        }
        break;

    case DET_STATE_CANDIDATE:
        candidate_age++;
        if (env > candidate_peak) {
            candidate_peak = env;
        }
        {
            uint32_t ratio = sta_lta_ratio_q8();
            if (ratio > candidate_peak_sta_lta_q8) {
                candidate_peak_sta_lta_q8 = ratio;
            }
        }
        if (env > threshold && candidate_dwell < 65535U) {
            candidate_dwell++;
        }

        if (sta_lta_confirmed() && cusum_pos >= CUSUM_CONFIRM) {
            uint64_t ts_sample = refine_first_arrival(sample_index);
            if (ts_sample > candidate_start_sample) {
                ts_sample = candidate_start_sample;
            }
            publish_event(ts_sample, candidate_peak, candidate_peak_sta_lta_q8, candidate_dwell);
            det_state = DET_STATE_LOCKOUT;
            lockout_left = LOCKOUT_SAMPLES;
            cusum_pos = 0U;
        } else if (candidate_age > CANDIDATE_TIMEOUT && env < threshold) {
            det_state = DET_STATE_QUIET;
            cusum_pos = 0U;
        }
        break;

    case DET_STATE_LOCKOUT:
        if (lockout_left > 0U) {
            lockout_left--;
        } else {
            det_state = DET_STATE_QUIET;
            candidate_age = 0U;
            candidate_peak = 0U;
            candidate_peak_sta_lta_q8 = 0U;
            candidate_dwell = 0U;
        }
        break;

    default:
        det_state = DET_STATE_QUIET;
        break;
    }

    /* Состояние после выполнения переходов автомата за текущий отсчёт.
     * Расшифровка для графиков: 0 - Фон, 1 - Кандидат, 2 - Блокировка.
     */
    dbg_det_state = (uint8_t)det_state;
}

void process_audio_block(uint16_t *buf, uint16_t len, uint64_t block_start_sample)
{
    for (uint16_t i = 0; i < len; i++) {
        int32_t sample24 = decode_inmp441_sample24(buf, i);
        test24 = sample24;

        dc_estimate += (sample24 - dc_estimate) >> DC_SHIFT;
        int32_t filtered24 = sample24 - dc_estimate;
        int32_t pcm32 = filtered24 >> 8;

        if (pcm32 > 32767) {
            pcm32 = 32767;
        } else if (pcm32 < -32768) {
            pcm32 = -32768;
        }

        detector_process_pcm16((int16_t)pcm32, block_start_sample + i);
    }
}
static void nrf3_init_ptx_timestamp(void)
{
    nrf_ce_low(&nrf3_tx);
    HAL_Delay(5U);

    nrf_write_reg(&nrf3_tx, NRF_REG_CONFIG, 0x0CU);       /* PWR_DOWN, 2-byte CRC, PTX */
    nrf_clear_all_irqs_and_fifos(&nrf3_tx, 1U);
    nrf_write_reg(&nrf3_tx, NRF_REG_EN_AA, 0x01U);        /* Auto ACK on pipe 0 */
    nrf_write_reg(&nrf3_tx, NRF_REG_EN_RXADDR, 0x01U);    /* Pipe 0 enabled for ACK reception */
    nrf_write_reg(&nrf3_tx, NRF_REG_SETUP_AW, 0x03U);     /* 5-byte addresses */
    nrf_write_reg(&nrf3_tx, NRF_REG_SETUP_RETR, 0x3FU);   /* 750 us, 15 retries */
    nrf_write_reg(&nrf3_tx, NRF_REG_RF_CH, NRF3_FREQ);
    nrf_write_reg(&nrf3_tx, NRF_REG_RF_SETUP, 0x0EU);     /* 2 Mbps, 0 dBm */
    nrf_write_multi(&nrf3_tx, NRF_REG_TX_ADDR, nrf3_master_pipe0_addr, RADIO_ADDR_WIDTH);
    nrf_write_multi(&nrf3_tx, NRF_REG_RX_ADDR_P0, nrf3_master_pipe0_addr, RADIO_ADDR_WIDTH);
    nrf_write_reg(&nrf3_tx, NRF_REG_DYNPD, 0x00U);
    nrf_write_reg(&nrf3_tx, NRF_REG_FEATURE, 0x00U);
    nrf_clear_all_irqs_and_fifos(&nrf3_tx, 1U);

    /* IRQ: RX_DR masked, TX_DS and MAX_RT unmasked. */
    nrf_write_reg(&nrf3_tx, NRF_REG_CONFIG, 0x4EU);
    HAL_Delay(2U);
    nrf_clear_all_irqs_and_fifos(&nrf3_tx, 1U);
}

static void nrf2_init_prx_control(void)
{
    nrf_ce_low(&nrf2_rx);
    HAL_Delay(5U);

    nrf_write_reg(&nrf2_rx, NRF_REG_CONFIG, 0x0CU);       /* PWR_DOWN, 2-byte CRC */
    nrf_clear_all_irqs_and_fifos(&nrf2_rx, 0U);
    nrf_write_reg(&nrf2_rx, NRF_REG_EN_AA, 0x03U);        /* Enhanced ShockBurst on pipe0+pipe1; NO_ACK bit suppresses ACK for sync/reset */
    nrf_write_reg(&nrf2_rx, NRF_REG_EN_RXADDR, 0x03U);    /* Pipe 0 common + pipe 1 individual */
    nrf_write_reg(&nrf2_rx, NRF_REG_SETUP_AW, 0x03U);     /* 5-byte addresses */
    nrf_write_reg(&nrf2_rx, NRF_REG_SETUP_RETR, 0x00U);
    nrf_write_reg(&nrf2_rx, NRF_REG_RF_CH, NRF2_FREQ);
    nrf_write_reg(&nrf2_rx, NRF_REG_RF_SETUP, 0x0EU);     /* 2 Mbps, 0 dBm */
    nrf_write_multi(&nrf2_rx, NRF_REG_RX_ADDR_P0, nrf2_common_pipe0_addr, RADIO_ADDR_WIDTH);
    nrf_write_multi(&nrf2_rx, NRF_REG_RX_ADDR_P1, nrf2_slave_pipe1_addr, RADIO_ADDR_WIDTH);
    nrf_write_reg(&nrf2_rx, NRF_REG_RX_PW_P0, RADIO_CTRL_PAYLOAD_LEN);
    nrf_write_reg(&nrf2_rx, NRF_REG_RX_PW_P1, RADIO_CTRL_PAYLOAD_LEN);
    nrf_write_reg(&nrf2_rx, NRF_REG_DYNPD, 0x00U);
    nrf_write_feature_checked(&nrf2_rx, 0x01U);           /* Accept NO_ACK packets from master */
    nrf_clear_all_irqs_and_fifos(&nrf2_rx, 0U);

    /* IRQ: RX_DR unmasked, TX_DS/MAX_RT masked, PRX enabled. */
    nrf_write_reg(&nrf2_rx, NRF_REG_CONFIG, 0x3FU);
    HAL_Delay(2U);
    nrf_clear_all_irqs_and_fifos(&nrf2_rx, 0U);
    nrf_ce_high(&nrf2_rx);
    HAL_Delay(2U);
}

static void Radio_Init(void)
{
    nrf_csn_high(&nrf2_rx);
    nrf_csn_high(&nrf3_tx);
    nrf_ce_low(&nrf2_rx);
    nrf_ce_low(&nrf3_tx);
    radio_nrf2_irq_pending = 0U;
    radio_nrf3_irq_pending = 0U;
    radio_nrf3_tx_busy = 0U;
    nrf3_init_ptx_timestamp();
    nrf2_init_prx_control();
    Radio_UpdateNrfDebugSnapshot();
}

static void nrf_read_payload_buf(const nrf_dev_t *dev, uint8_t *payload, uint8_t len)
{
    nrf_csn_low(dev);
    nrf_spi_xfer(dev, NRF_CMD_R_RX_PAYLOAD);
    for (uint8_t i = 0U; i < len; i++) {
        payload[i] = nrf_spi_xfer(dev, 0x00U);
    }
    nrf_csn_high(dev);
}

static uint64_t get_u64_le(const uint8_t *p)
{
    return ((uint64_t)p[0]) |
           ((uint64_t)p[1] << 8) |
           ((uint64_t)p[2] << 16) |
           ((uint64_t)p[3] << 24) |
           ((uint64_t)p[4] << 32) |
           ((uint64_t)p[5] << 40) |
           ((uint64_t)p[6] << 48) |
           ((uint64_t)p[7] << 56);
}

static void nrf3_send_event_packet(const radio_event_packet_t *pkt)
{
    nrf_ce_low(&nrf3_tx);
    nrf_write_reg(&nrf3_tx, NRF_REG_STATUS, NRF_STATUS_TX_DS | NRF_STATUS_MAX_RT);
    nrf_command(&nrf3_tx, NRF_CMD_FLUSH_TX);

    nrf_csn_low(&nrf3_tx);
    nrf_spi_xfer(&nrf3_tx, NRF_CMD_W_TX_PAYLOAD);
    const uint8_t *p = (const uint8_t *)pkt;
    for (uint8_t i = 0; i < RADIO_EVENT_PAYLOAD_LEN; i++) {
        nrf_spi_xfer(&nrf3_tx, p[i]);
    }
    nrf_csn_high(&nrf3_tx);

    radio_nrf3_tx_busy = 1U;
    nrf_ce_high(&nrf3_tx);
    delay_us_blocking(20U);
    nrf_ce_low(&nrf3_tx);
}

static uint64_t Radio_ApplySyncCorrection(uint64_t timestamp_us)
{
    if (SynEnable == 0U) {
        return timestamp_us;
    }

    int64_t corrected = (int64_t)timestamp_us + (int64_t)radio_time_correction_us;
    if (corrected < 0) {
        corrected = 0;
    }
    return (uint64_t)corrected;
}

void Radio_ProcessMainLoop(void)
{
    static uint32_t last_debug_snapshot_ms = 0U;
    uint8_t handle_nrf2 = 0U;
    uint8_t handle_nrf3 = 0U;

    /* EXTI only posts flags; all nRF SPI transactions are executed here,
     * outside the interrupt context, so I2S DMA callbacks are not blocked. */
    uint32_t primask = __get_PRIMASK();
    __disable_irq();
    if (radio_nrf2_irq_pending != 0U) {
        radio_nrf2_irq_pending = 0U;
        handle_nrf2 = 1U;
    }
    if (radio_nrf3_irq_pending != 0U) {
        radio_nrf3_irq_pending = 0U;
        handle_nrf3 = 1U;
    }
    if (primask == 0U) {
        __enable_irq();
    }

    if (handle_nrf2 != 0U) {
        Radio_HandleNrf2Rx();
    }
    if (handle_nrf3 != 0U) {
        Radio_HandleNrf3TxIrq();
    }

    if ((HAL_GetTick() - last_debug_snapshot_ms) >= 100U) {
        last_debug_snapshot_ms = HAL_GetTick();
        Radio_UpdateNrfDebugSnapshot();
    }

    if ((radio_event_ready != 0U) && (radio_nrf3_tx_busy == 0U)) {
        radio_event_packet_t pkt;

        primask = __get_PRIMASK();
        __disable_irq();
        pkt = radio_event_packet;
        radio_event_ready = 0U;
        if (primask == 0U) {
            __enable_irq();
        }

        pkt.timestamp_sample = Radio_ApplySyncCorrection(pkt.timestamp_sample);
        nrf3_send_event_packet(&pkt);
    }
}

void Radio_PublishEventTimestamp(uint64_t timestamp_us)
{
    radio_event_packet_t pkt;

    recognized_event_id++; /* uint8_t automatically wraps 255 -> 0. */
    pkt.timestamp_sample = timestamp_us; /* User-requested mode: transmit ev.timestamp_us in this field. */
    pkt.event_id = recognized_event_id;

    uint32_t primask = __get_PRIMASK();
    __disable_irq();
    radio_event_packet = pkt;
    radio_event_ready = 1U;
    last_event_timestamp_us = timestamp_us;
    if (primask == 0U) {
        __enable_irq();
    }
}

static void Radio_ResetInternalTimeAndEvents(void)
{
    uint32_t primask = __get_PRIMASK();
    __disable_irq();
    recognized_event_id = 0U;
    radio_event_ready = 0U;
    radio_event_packet.timestamp_sample = 0U;
    radio_event_packet.event_id = 0U;
    last_event_timestamp_us = 0U;
    last_event_sample_index = 0U;
    last_event.valid = 0U;
    sample_counter = 0U;
    process_pending_mask = 0U;
    process_block_start_sample[0] = 0U;
    process_block_start_sample[1] = 0U;
    recording_start_us = 0U;
    dc_estimate = 0;
    env_state = 0U;
    noise_mean = 512U;
    noise_deviation = 64U;
    sta_sum = 0U;
    lta_sum = 1U;
    sta_pos = 0U;
    lta_pos = 0U;
    cusum_pos = 0U;
    det_state = DET_STATE_QUIET;
    candidate_age = 0U;
    candidate_peak = 0U;
    candidate_peak_sta_lta_q8 = 0U;
    candidate_dwell = 0U;
    pretrigger_wr = 0U;
    memset((void*)pretrigger_pcm, 0, sizeof(pretrigger_pcm));
    memset((void*)pretrigger_env, 0, sizeof(pretrigger_env));
    memset((void*)sta_ring, 0, sizeof(sta_ring));
    memset((void*)lta_ring, 0, sizeof(lta_ring));
    radio_time_correction_us = 0;
    radio_last_sync_error_us = 0;
    radio_sync_seen = 0U;
    if (primask == 0U) {
        __enable_irq();
    }

    set_time_us(0U);
    recording_start_us = get_time_us();
    nrf_command(&nrf2_rx, NRF_CMD_FLUSH_RX);
    nrf_command(&nrf3_tx, NRF_CMD_FLUSH_TX);
}
static void Radio_HandleSyncPacket(uint64_t master_time_us)
{
    uint64_t actual = get_time_us();
    radio_nrf2_sync_count++;
    radio_sync_seen = 1U;
    radio_nrf2_last_sync_master_us = master_time_us;
    radio_nrf2_last_sync_master_us_lo = (uint32_t)(master_time_us & 0xFFFFFFFFULL);
    radio_nrf2_last_sync_master_us_hi = (uint32_t)(master_time_us >> 32);

    int64_t diff64 = (int64_t)actual - (int64_t)master_time_us;
    if (diff64 > INT32_MAX) {
        diff64 = INT32_MAX;
    } else if (diff64 < INT32_MIN) {
        diff64 = INT32_MIN;
    }
    radio_last_sync_error_us = (int32_t)diff64;

    if (SynEnable != 0U) {
        set_time_us(master_time_us);
        //recording_start_us = get_time_us();
        radio_time_correction_us -= (int32_t)diff64;
    }
}

static void Radio_HandleNrf2Rx(void)
{
    uint8_t status = nrf_read_reg(&nrf2_rx, NRF_REG_STATUS);
    radio_nrf2_last_status = status;

    if ((status & NRF_STATUS_RX_DR) != 0U) {
        uint8_t pipe = (uint8_t)((status & NRF_STATUS_RX_P_NO) >> 1);
        uint8_t rx_payload[RADIO_CTRL_PAYLOAD_LEN] = {0U};
        nrf_read_payload_buf(&nrf2_rx, rx_payload, RADIO_CTRL_PAYLOAD_LEN);

        radio_nrf2_last_pipe = pipe;
        radio_nrf2_last_payload = rx_payload[0];
        radio_nrf2_last_payload_len = RADIO_CTRL_PAYLOAD_LEN;

        if ((pipe == 0U) && (rx_payload[0] == RADIO_PKT_TIME_RESET)) {
            radio_nrf2_reset_count++;
            nrf_clear_irq(&nrf2_rx, NRF_STATUS_RX_DR);
            Radio_ResetInternalTimeAndEvents();
            HAL_GPIO_WritePin(LED_GPIO_Port, LED_Pin,GPIO_PIN_SET);
            return;
        }
        if ((pipe == 0U) && (rx_payload[0] == RADIO_PKT_SYNC)) {
            uint64_t master_time_us = get_u64_le(&rx_payload[1]);
            Radio_HandleSyncPacket(master_time_us);
        } else if ((pipe == 1U) && (rx_payload[0] == RADIO_PKT_HEALTH)) {
            /* ACK is generated by nRF24L01+ hardware because EN_AA pipe1 is enabled. */
            radio_nrf2_health_count++;
        }
    }

    nrf_clear_irq(&nrf2_rx, status & (NRF_STATUS_RX_DR | NRF_STATUS_TX_DS | NRF_STATUS_MAX_RT));
}

static void Radio_HandleNrf3TxIrq(void)
{
    uint8_t status = nrf_read_reg(&nrf3_tx, NRF_REG_STATUS);
    radio_nrf3_last_status = status;

    if ((status & NRF_STATUS_MAX_RT) != 0U) {
        radio_nrf3_max_rt_count++;
        nrf_clear_irq(&nrf3_tx, NRF_STATUS_MAX_RT);
        nrf_command(&nrf3_tx, NRF_CMD_FLUSH_TX);
        radio_nrf3_tx_busy = 0U;
    }

    if ((status & NRF_STATUS_TX_DS) != 0U) {
        radio_nrf3_tx_ok_count++;
        nrf_clear_irq(&nrf3_tx, NRF_STATUS_TX_DS);
        radio_nrf3_tx_busy = 0U;
    }
}

void Radio_IRQ_Handler(uint16_t GPIO_Pin)
{
    /* Never use HAL_SPI_* inside EXTI. NRF IRQ can stay low while STATUS is
     * uncleared; servicing it here may block DMA/I2S callbacks for milliseconds. */
    if (GPIO_Pin == NRF2_IRQ_Pin) {
        radio_nrf2_irq_pending = 1U;
    } else if (GPIO_Pin == NRF3_IRQ_Pin) {
        radio_nrf3_irq_pending = 1U;
    }
}
/* USER CODE END 0 */

int main(void)
{

  /* MCU Configuration--------------------------------------------------------*/

  /* Reset of all peripherals, Initializes the Flash interface and the Systick. */
  HAL_Init();

  /* Configure the system clock */
  SystemClock_Config();

  /* Initialize all configured peripherals */
  MX_GPIO_Init();
  MX_DMA_Init();
  MX_I2S1_Init();
  MX_SPI2_Init();
  MX_SPI3_Init();
  MX_TIM2_Init();
  /* USER CODE BEGIN 2 */

   HAL_TIM_Base_Start_IT(&htim2);
  recording_start_us = get_time_us();

  Radio_Init();

  /*
   * Запуск DMA приёма. Для 24-битного I2S каждый сэмпл = 2 полуслова.
   * Размер = BLOCK_SAMPLES сэмплов * 2 половины * 2 полуслова = BLOCK_SAMPLES * 4
   */
  HAL_I2S_Receive_DMA(&hi2s1, (uint16_t*)i2s_buffer, I2S_HAL_RX_SIZE_PARAM);
  /* USER CODE END 2 */

  /* Infinite loop */
  while (1)
  {

    /* USER CODE BEGIN 3 */
    uint16_t *block_ptr = NULL;
    uint64_t block_start_sample = 0U;

    while (pop_dma_half(&block_ptr, &block_start_sample) != 0xFFU) {
        process_audio_block(block_ptr, BLOCK_SAMPLES, block_start_sample);
        block_ptr = NULL;
    }

    /* Радио обслуживается только когда аудио-очередь пуста. Это защищает
     * непрерывный I2S/DMA тракт от блокировок SPI/nRF и STM32CubeMonitor. */
    if (!audio_has_pending_block()) {
        Radio_ProcessMainLoop();
    }
    /* USER CODE END 3 */
  }
}

void SystemClock_Config(void)
{
  RCC_OscInitTypeDef RCC_OscInitStruct = {0};
  RCC_ClkInitTypeDef RCC_ClkInitStruct = {0};

  /** Configure the main internal regulator output voltage
  */
  __HAL_RCC_PWR_CLK_ENABLE();
  __HAL_PWR_VOLTAGESCALING_CONFIG(PWR_REGULATOR_VOLTAGE_SCALE1);

  /** Initializes the RCC Oscillators according to the specified parameters
  * in the RCC_OscInitTypeDef structure.
  */
  RCC_OscInitStruct.OscillatorType = RCC_OSCILLATORTYPE_HSE;
  RCC_OscInitStruct.HSEState = RCC_HSE_ON;
  RCC_OscInitStruct.PLL.PLLState = RCC_PLL_ON;
  RCC_OscInitStruct.PLL.PLLSource = RCC_PLLSOURCE_HSE;
  RCC_OscInitStruct.PLL.PLLM = 25;
  RCC_OscInitStruct.PLL.PLLN = 200;
  RCC_OscInitStruct.PLL.PLLP = RCC_PLLP_DIV2;
  RCC_OscInitStruct.PLL.PLLQ = 4;
  if (HAL_RCC_OscConfig(&RCC_OscInitStruct) != HAL_OK)
  {
    Error_Handler();
  }

  /** Initializes the CPU, AHB and APB buses clocks
  */
  RCC_ClkInitStruct.ClockType = RCC_CLOCKTYPE_HCLK|RCC_CLOCKTYPE_SYSCLK
                              |RCC_CLOCKTYPE_PCLK1|RCC_CLOCKTYPE_PCLK2;
  RCC_ClkInitStruct.SYSCLKSource = RCC_SYSCLKSOURCE_PLLCLK;
  RCC_ClkInitStruct.AHBCLKDivider = RCC_SYSCLK_DIV1;
  RCC_ClkInitStruct.APB1CLKDivider = RCC_HCLK_DIV2;
  RCC_ClkInitStruct.APB2CLKDivider = RCC_HCLK_DIV1;

  if (HAL_RCC_ClockConfig(&RCC_ClkInitStruct, FLASH_LATENCY_3) != HAL_OK)
  {
    Error_Handler();
  }
}

static void MX_I2S1_Init(void)
{
  hi2s1.Instance = SPI1;
  hi2s1.Init.Mode = I2S_MODE_MASTER_RX;
  hi2s1.Init.Standard = I2S_STANDARD_PHILIPS;
  hi2s1.Init.DataFormat = I2S_DATAFORMAT_24B;      /* Оставляем 24 бита */
  hi2s1.Init.MCLKOutput = I2S_MCLKOUTPUT_DISABLE;
  hi2s1.Init.AudioFreq = I2S_AUDIOFREQ_16K;
  hi2s1.Init.CPOL = I2S_CPOL_LOW;
  hi2s1.Init.ClockSource = I2S_CLOCK_PLL;
  hi2s1.Init.FullDuplexMode = I2S_FULLDUPLEXMODE_DISABLE;
  if (HAL_I2S_Init(&hi2s1) != HAL_OK)
  {
    Error_Handler();
  }
}

static void MX_SPI2_Init(void)
{
  hspi2.Instance = SPI2;
  hspi2.Init.Mode = SPI_MODE_MASTER;
  hspi2.Init.Direction = SPI_DIRECTION_2LINES;
  hspi2.Init.DataSize = SPI_DATASIZE_8BIT;
  hspi2.Init.CLKPolarity = SPI_POLARITY_LOW;
  hspi2.Init.CLKPhase = SPI_PHASE_1EDGE;
  hspi2.Init.NSS = SPI_NSS_SOFT;
  hspi2.Init.BaudRatePrescaler = SPI_BAUDRATEPRESCALER_8;
  hspi2.Init.FirstBit = SPI_FIRSTBIT_MSB;
  hspi2.Init.TIMode = SPI_TIMODE_DISABLE;
  hspi2.Init.CRCCalculation = SPI_CRCCALCULATION_DISABLE;
  hspi2.Init.CRCPolynomial = 10;
  if (HAL_SPI_Init(&hspi2) != HAL_OK)
  {
    Error_Handler();
  }
}

static void MX_SPI3_Init(void)
{
  hspi3.Instance = SPI3;
  hspi3.Init.Mode = SPI_MODE_MASTER;
  hspi3.Init.Direction = SPI_DIRECTION_2LINES;
  hspi3.Init.DataSize = SPI_DATASIZE_8BIT;
  hspi3.Init.CLKPolarity = SPI_POLARITY_LOW;
  hspi3.Init.CLKPhase = SPI_PHASE_1EDGE;
  hspi3.Init.NSS = SPI_NSS_SOFT;
  hspi3.Init.BaudRatePrescaler = SPI_BAUDRATEPRESCALER_8;
  hspi3.Init.FirstBit = SPI_FIRSTBIT_MSB;
  hspi3.Init.TIMode = SPI_TIMODE_DISABLE;
  hspi3.Init.CRCCalculation = SPI_CRCCALCULATION_DISABLE;
  hspi3.Init.CRCPolynomial = 10;
  if (HAL_SPI_Init(&hspi3) != HAL_OK)
  {
    Error_Handler();
  }
}

static void MX_TIM2_Init(void)
{
  TIM_ClockConfigTypeDef sClockSourceConfig = {0};
  TIM_MasterConfigTypeDef sMasterConfig = {0};

  htim2.Instance = TIM2;
  htim2.Init.Prescaler = 99;
  htim2.Init.CounterMode = TIM_COUNTERMODE_UP;
  htim2.Init.Period = 4294967295;
  htim2.Init.ClockDivision = TIM_CLOCKDIVISION_DIV1;
  htim2.Init.AutoReloadPreload = TIM_AUTORELOAD_PRELOAD_DISABLE;
  if (HAL_TIM_Base_Init(&htim2) != HAL_OK)
  {
    Error_Handler();
  }
  sClockSourceConfig.ClockSource = TIM_CLOCKSOURCE_INTERNAL;
  if (HAL_TIM_ConfigClockSource(&htim2, &sClockSourceConfig) != HAL_OK)
  {
    Error_Handler();
  }
  sMasterConfig.MasterOutputTrigger = TIM_TRGO_RESET;
  sMasterConfig.MasterSlaveMode = TIM_MASTERSLAVEMODE_DISABLE;
  if (HAL_TIMEx_MasterConfigSynchronization(&htim2, &sMasterConfig) != HAL_OK)
  {
    Error_Handler();
  }
}

static void MX_DMA_Init(void)
{
  __HAL_RCC_DMA2_CLK_ENABLE();
  HAL_NVIC_SetPriority(DMA2_Stream0_IRQn, 0, 0);
  HAL_NVIC_EnableIRQ(DMA2_Stream0_IRQn);
}

static void MX_GPIO_Init(void)
{
  GPIO_InitTypeDef GPIO_InitStruct = {0};

  __HAL_RCC_GPIOC_CLK_ENABLE();
  __HAL_RCC_GPIOH_CLK_ENABLE();
  __HAL_RCC_GPIOA_CLK_ENABLE();
  __HAL_RCC_GPIOB_CLK_ENABLE();

  HAL_GPIO_WritePin(LED_GPIO_Port, LED_Pin, GPIO_PIN_SET);
  HAL_GPIO_WritePin(NRF2_CSN_GPIO_Port, NRF2_CSN_Pin, GPIO_PIN_SET);
  HAL_GPIO_WritePin(GPIOA, NRF2_CE_Pin|NRF3_CE_Pin, GPIO_PIN_RESET);
  HAL_GPIO_WritePin(NRF3_CSN_GPIO_Port, NRF3_CSN_Pin, GPIO_PIN_SET);

  GPIO_InitStruct.Pin = LED_Pin;
  GPIO_InitStruct.Mode = GPIO_MODE_OUTPUT_PP;
  GPIO_InitStruct.Pull = GPIO_NOPULL;
  GPIO_InitStruct.Speed = GPIO_SPEED_FREQ_LOW;
  HAL_GPIO_Init(LED_GPIO_Port, &GPIO_InitStruct);

  GPIO_InitStruct.Pin = NRF2_CSN_Pin;
  GPIO_InitStruct.Mode = GPIO_MODE_OUTPUT_PP;
  GPIO_InitStruct.Pull = GPIO_NOPULL;
  GPIO_InitStruct.Speed = GPIO_SPEED_FREQ_HIGH;
  HAL_GPIO_Init(NRF2_CSN_GPIO_Port, &GPIO_InitStruct);

  GPIO_InitStruct.Pin = NRF2_IRQ_Pin|NRF3_IRQ_Pin;
  GPIO_InitStruct.Mode = GPIO_MODE_IT_FALLING;
  GPIO_InitStruct.Pull = GPIO_PULLUP;
  HAL_GPIO_Init(GPIOA, &GPIO_InitStruct);

  HAL_NVIC_SetPriority(EXTI9_5_IRQn, 1, 0);
  HAL_NVIC_EnableIRQ(EXTI9_5_IRQn);
  HAL_NVIC_SetPriority(EXTI15_10_IRQn, 1, 1);
  HAL_NVIC_EnableIRQ(EXTI15_10_IRQn);

  GPIO_InitStruct.Pin = NRF2_CE_Pin|NRF3_CE_Pin;
  GPIO_InitStruct.Mode = GPIO_MODE_OUTPUT_PP;
  GPIO_InitStruct.Pull = GPIO_NOPULL;
  GPIO_InitStruct.Speed = GPIO_SPEED_FREQ_HIGH;
  HAL_GPIO_Init(GPIOA, &GPIO_InitStruct);

  GPIO_InitStruct.Pin = NRF3_CSN_Pin;
  GPIO_InitStruct.Mode = GPIO_MODE_OUTPUT_PP;
  GPIO_InitStruct.Pull = GPIO_NOPULL;
  GPIO_InitStruct.Speed = GPIO_SPEED_FREQ_LOW;
  HAL_GPIO_Init(NRF3_CSN_GPIO_Port, &GPIO_InitStruct);
}

void Error_Handler(void)
{
  __disable_irq();
  while (1)
  {
  }
}
